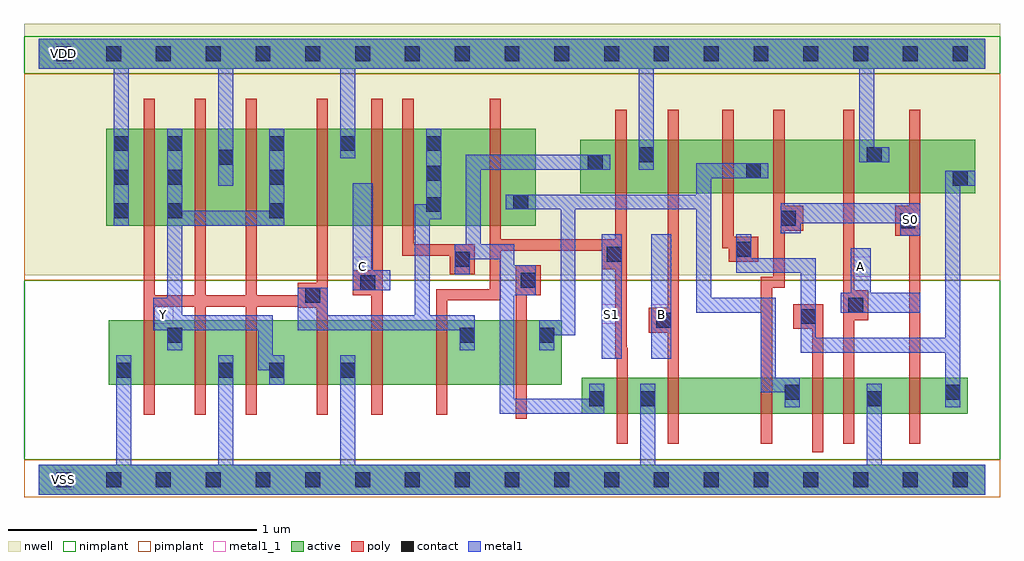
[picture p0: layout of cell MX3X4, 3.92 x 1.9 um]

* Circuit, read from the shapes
.subckt MX3X4 A B C S0 S1 VDD VSS Y
M1 Y n1 VSS VSS nfet w=0.26u l=0.045u m=4
M2 n2 C VSS VSS nfet w=0.26u l=0.045u
M3 n1 S1 n2 VSS nfet w=0.26u l=0.045u
M4 n3 n4 n1 VSS nfet w=0.26u l=0.045u
M5 VSS S1 n4 VSS nfet w=0.145u l=0.045u
M6 n5 B VSS VSS nfet w=0.145u l=0.045u
M7 n3 S0 n5 VSS nfet w=0.145u l=0.045u
M8 n6 n7 n3 VSS nfet w=0.145u l=0.045u
M9 VSS A n6 VSS nfet w=0.145u l=0.045u
M10 n7 S0 VSS VSS nfet w=0.145u l=0.045u
M11 Y n1 VDD VDD pfet w=0.39u l=0.045u m=4
M12 n8 C VDD VDD pfet w=0.39u l=0.045u
M13 n1 n4 n8 VDD pfet w=0.39u l=0.045u
M14 n3 S1 n1 VDD pfet w=0.39u l=0.045u
M15 VDD S1 n4 VDD pfet w=0.215u l=0.045u
M16 n9 B VDD VDD pfet w=0.215u l=0.045u
M17 n3 n7 n9 VDD pfet w=0.215u l=0.045u
M18 n10 S0 n3 VDD pfet w=0.215u l=0.045u
M19 VDD A n10 VDD pfet w=0.215u l=0.045u
M20 n7 S0 VDD VDD pfet w=0.215u l=0.045u
.ends

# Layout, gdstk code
import gdstk
lib = gdstk.Library(unit=1e-6, precision=5e-10)
def R(c, l, rs):  # rectangles x0, y0, x1, y1
    for r in rs: c.add(gdstk.rectangle(r[:2], r[2:], *l))
def A(c, l, x, y, w, h, nx, ny, dx, dy):  # array of equal rectangles
    R(c, l, [(x+i*dx, y+j*dy, x+i*dx+w, y+j*dy+h) for i in range(nx) for j in range(ny)])
def P(c, l, *ps):  # polygons
    for p in ps: c.add(gdstk.Polygon(p, *l))
active = (1, 0)
nwell = (2, 0)
poly = (3, 0)
nimplant = (4, 0)
pimplant = (5, 0)
contact = (6, 0)
metal1 = (7, 0)
metal1_1 = (7, 1)

mx3x4 = lib.new_cell('MX3X4')
R(mx3x4, active, [(0,-0.06,3.8,0.06), (2.18,0.265,3.73,0.41), (0.28,0.38,2.1,0.64), (0.27,1.02,1.995,1.41), (2.175,1.15,3.76,1.365), (0,1.65,3.8,1.77)])
R(mx3x4, nwell, [(-0.06,0.82,3.86,1.83)])
P(mx3x4, poly, [(0.42,1.53),(0.465,1.53),(0.465,0.74),(0.625,0.74),(0.625,1.53),(0.67,1.53),(0.67,0.74),(0.83,0.74),(0.83,1.53),(0.875,1.53),(0.875,0.74),(1.04,0.74),(1.04,0.79),(1.115,0.79),(1.115,1.53),(1.16,1.53),(1.16,0.26),(1.115,0.26),(1.115,0.69),(1.04,0.69),(1.04,0.695),(0.875,0.695),(0.875,0.26),(0.83,0.26),(0.83,0.695),(0.67,0.695),(0.67,0.26),(0.625,0.26),(0.625,0.695),(0.465,0.695),(0.465,0.26),(0.42,0.26)],
  [(1.335,1.53),(1.38,1.53),(1.38,0.26),(1.335,0.26),(1.335,0.74),(1.26,0.74),(1.26,0.84),(1.335,0.84)],
  [(1.46,1.53),(1.505,1.53),(1.505,0.945),(1.75,0.945),(1.75,0.825),(1.65,0.825),(1.65,0.9),(1.46,0.9)],
  [(1.81,1.53),(1.855,1.53),(1.855,0.965),(2.315,0.965),(2.315,1.485),(2.36,1.485),(2.36,0.53),(2.365,0.53),(2.365,0.145),(2.32,0.145),(2.32,0.485),(2.315,0.485),(2.315,0.845),(2.26,0.845),(2.26,0.92),(1.855,0.92),(1.855,0.72),(1.64,0.72),(1.64,0.26),(1.595,0.26),(1.595,0.765),(1.81,0.765)],
  [(2.525,1.485),(2.57,1.485),(2.57,0.145),(2.525,0.145),(2.525,0.59),(2.45,0.59),(2.45,0.69),(2.525,0.69)],
  [(2.745,1.485),(2.79,1.485),(2.79,0.975),(2.89,0.975),(2.89,0.875),(2.77,0.875),(2.77,0.93),(2.745,0.93)],
  [(2.95,1.485),(2.995,1.485),(2.995,1.1),(3.07,1.1),(3.07,1),(2.995,1),(2.995,0.77),(2.945,0.77),(2.945,0.145),(2.9,0.145),(2.9,0.815),(2.95,0.815)],
  [(3.23,1.485),(3.275,1.485),(3.275,0.76),(3.33,0.76),(3.33,0.64),(3.275,0.64),(3.275,0.145),(3.23,0.145)],
  [(3.495,1.485),(3.54,1.485),(3.54,0.145),(3.495,0.145),(3.495,0.98),(3.44,0.98),(3.44,1.1),(3.495,1.1)],
  [(1.915,0.86),(2.015,0.86),(2.015,0.74),(1.96,0.74),(1.96,0.245),(1.915,0.245)],
  [(3.03,0.705),(3.15,0.705),(3.15,0.11),(3.105,0.11),(3.105,0.605),(3.03,0.605)])
R(mx3x4, nimplant, [(-0.06,0.08,3.86,0.8), (-0.06,1.63,3.86,1.78)])
R(mx3x4, pimplant, [(-0.06,-0.07,3.86,0.08), (-0.06,0.8,3.86,1.63)])
A(mx3x4, contact, 0.07, -0.03, 0.06, 0.06, 19, 2, 0.2, 1.71)
A(mx3x4, contact, 0.3, 1.05, 0.06, 0.06, 1, 3, 0, 0.135)
A(mx3x4, contact, 0.515, 1.05, 0.06, 0.06, 1, 3, 0, 0.135)
A(mx3x4, contact, 0.925, 1.05, 0.06, 0.06, 1, 3, 0, 0.135)
R(mx3x4, contact, [(2.21,0.295,2.27,0.355), (2.415,0.295,2.475,0.355), (3.325,0.295,3.385,0.355), (2.995,0.32,3.055,0.38), (3.64,0.32,3.7,0.38), (0.31,0.41,0.37,0.47), (0.72,0.41,0.78,0.47), (0.925,0.41,0.985,0.47), (1.21,0.41,1.27,0.47), (0.515,0.55,0.575,0.61), (1.69,0.55,1.75,0.61), (2.01,0.55,2.07,0.61), (2.48,0.61,2.54,0.67), (3.06,0.625,3.12,0.685), (3.25,0.67,3.31,0.73), (1.07,0.71,1.13,0.77), (1.29,0.76,1.35,0.82), (1.935,0.77,1.995,0.83), (1.67,0.855,1.73,0.915), (2.28,0.875,2.34,0.935), (2.8,0.895,2.86,0.955), (3.46,1.01,3.52,1.07), (2.98,1.02,3.04,1.08), (1.555,1.075,1.615,1.135), (1.905,1.085,1.965,1.145), (3.67,1.18,3.73,1.24), (1.555,1.2,1.615,1.26), (2.84,1.21,2.9,1.27), (2.205,1.245,2.265,1.305), (0.72,1.265,0.78,1.325), (2.41,1.275,2.47,1.335), (3.325,1.275,3.385,1.335), (1.21,1.32,1.27,1.38), (1.555,1.32,1.615,1.38)])
R(mx3x4, metal1, [(2.26,0.485,2.34,0.985), (2.46,0.485,2.54,0.985)])
P(mx3x4, metal1, [(0,1.77),(3.8,1.77),(3.8,1.65),(3.355,1.65),(3.355,1.335),(3.415,1.335),(3.415,1.275),(3.295,1.275),(3.295,1.65),(2.47,1.65),(2.47,1.245),(2.41,1.245),(2.41,1.65),(1.27,1.65),(1.27,1.29),(1.21,1.29),(1.21,1.65),(0.78,1.65),(0.78,1.18),(0.72,1.18),(0.72,1.65),(0.36,1.65),(0.36,1.02),(0.3,1.02),(0.3,1.65),(0,1.65)],
  [(0.515,1.41),(0.575,1.41),(0.575,1.08),(0.925,1.08),(0.925,1.41),(0.985,1.41),(0.985,1.02),(0.575,1.02),(0.575,0.66),(0.94,0.66),(0.94,0.5),(0.985,0.5),(0.985,0.38),(0.925,0.38),(0.925,0.44),(0.88,0.44),(0.88,0.6),(0.575,0.6),(0.575,0.52),(0.515,0.52),(0.515,0.6),(0.46,0.6),(0.46,0.73),(0.515,0.73)],
  [(1.555,1.41),(1.615,1.41),(1.615,1.045),(1.57,1.045),(1.57,0.66),(1.75,0.66),(1.75,0.52),(1.69,0.52),(1.69,0.6),(1.04,0.6),(1.04,0.77),(1.16,0.77),(1.16,0.66),(1.51,0.66),(1.51,1.105),(1.555,1.105)],
  [(1.715,1.305),(2.295,1.305),(2.295,1.245),(1.775,1.245),(1.775,0.945),(1.91,0.945),(1.91,0.86),(1.995,0.86),(1.995,0.74),(1.91,0.74),(1.91,0.325),(2.21,0.325),(2.21,0.385),(2.27,0.385),(2.27,0.265),(1.85,0.265),(1.85,0.885),(1.73,0.885),(1.73,0.825),(1.67,0.825),(1.67,0.945),(1.715,0.945)],
  [(1.26,1.19),(1.34,1.19),(1.34,0.84),(1.41,0.84),(1.41,0.76),(1.26,0.76)],
  [(2.64,1.27),(2.93,1.27),(2.93,1.21),(2.7,1.21),(2.7,0.73),(2.96,0.73),(2.96,0.41),(3.055,0.41),(3.055,0.29),(2.995,0.29),(2.995,0.35),(2.9,0.35),(2.9,0.67),(2.64,0.67),(2.64,1.085),(2.155,1.085),(2.155,0.58),(2.07,0.58),(2.07,0.52),(2.01,0.52),(2.01,0.64),(2.095,0.64),(2.095,1.085),(1.875,1.085),(1.875,1.145),(2.64,1.145)],
  [(3.64,1.24),(3.76,1.24),(3.76,1.18),(3.7,1.18),(3.7,0.29),(3.64,0.29),(3.64,0.51),(3.06,0.51),(3.06,0.83),(2.8,0.83),(2.8,0.985),(2.86,0.985),(2.86,0.89),(3.12,0.89),(3.12,0.57),(3.64,0.57)],
  [(2.98,1.11),(3.54,1.11),(3.54,0.98),(3.46,0.98),(3.46,1.03),(3.06,1.03),(3.06,0.99),(2.98,0.99)],
  [(0.31,0.5),(0.37,0.5),(0.37,0.06),(0.72,0.06),(0.72,0.5),(0.78,0.5),(0.78,0.06),(1.21,0.06),(1.21,0.5),(1.27,0.5),(1.27,0.06),(2.415,0.06),(2.415,0.385),(2.475,0.385),(2.475,0.06),(3.325,0.06),(3.325,0.385),(3.385,0.385),(3.385,0.06),(3.8,0.06),(3.8,-0.06),(0,-0.06),(0,0.06),(0.31,0.06)],
  [(3.26,0.93),(3.34,0.93),(3.34,0.75),(3.54,0.75),(3.54,0.67),(3.22,0.67),(3.22,0.75),(3.26,0.75)])
R(mx3x4, metal1_1, [(0.06,-0.04,0.14,0.04), (0.46,0.625,0.54,0.705), (2.26,0.625,2.34,0.705), (2.46,0.625,2.54,0.705), (1.26,0.815,1.34,0.895), (3.26,0.815,3.34,0.895), (3.46,1.005,3.54,1.085), (0.06,1.67,0.14,1.75)])
mx3x4.add(gdstk.Label('Y', (0.5,0.665), layer=7, texttype=1))
mx3x4.add(gdstk.Label('S0', (3.5,1.045), layer=7, texttype=1))
mx3x4.add(gdstk.Label('A', (3.3,0.855), layer=7, texttype=1))
mx3x4.add(gdstk.Label('B', (2.5,0.665), layer=7, texttype=1))
mx3x4.add(gdstk.Label('S1', (2.3,0.665), layer=7, texttype=1))
mx3x4.add(gdstk.Label('C', (1.3,0.855), layer=7, texttype=1))
mx3x4.add(gdstk.Label('VDD', (0.1,1.71), layer=7, texttype=1))
mx3x4.add(gdstk.Label('VSS', (0.1,0), layer=7, texttype=1))
mx3x4.add(gdstk.Label('MX3X4', (0,0), layer=63, texttype=0))

lib.write_gds('MX3X4.gds')
